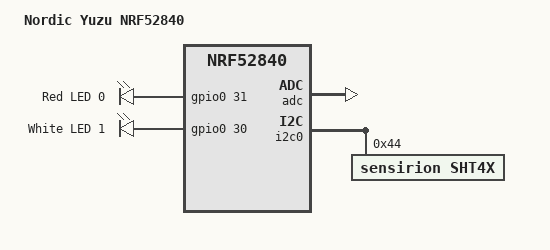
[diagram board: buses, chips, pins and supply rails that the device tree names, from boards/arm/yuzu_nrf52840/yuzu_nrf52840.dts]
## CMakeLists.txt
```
cmake_minimum_required(VERSION 3.20.0)
find_package(Zephyr REQUIRED HINTS $ENV{ZEPHYR_BASE})

project(yuzu)

# target_sources(app PRIVATE src/main.c)
FILE(GLOB app_sources src/*.c)
target_sources(app PRIVATE ${app_sources})
```

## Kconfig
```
source "Kconfig.zephyr"

config YUZU_SAMPLE_INTERVAL_MS
	int "Yuzu sampling interval (milliseconds)"
	default 10000
	range 1000 3600000
	help
	  Time in milliseconds between sensor readings.
	  Lower values = more frequent updates but higher power consumption.
	  Higher values = longer battery life but less responsive data.

config YUZU_ADV_INTERVAL_MS
	int "Yuzu broadcast interval (milliseconds)"
	default 4028
	range 100 10000
	help
	  Time in milliseconds between broadcasts, rounded to Bluetooth's
	  0.625 ms units. Lower values = readings reach receivers sooner
	  but higher power consumption. Pick it so each broadcast lands
	  about 0.4 of the way further into the receivers' 102.4 ms Wi-Fi
	  period: 4028 (4.028 s) or 8021 (8.021 s), not a round number of
	  seconds.
```

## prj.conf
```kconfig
# Battery
CONFIG_ADC=y

# SHT
CONFIG_I2C=y
CONFIG_SENSOR=y
CONFIG_SHT4X=y

# Basic BT options
CONFIG_BT=y
CONFIG_BT_PERIPHERAL=y
CONFIG_BT_DEVICE_NAME="YZ"

# MCUBOOT FOTA
CONFIG_NCS_SAMPLE_MCUMGR_BT_OTA_DFU=y

# Yuzu settings
# CONFIG_YUZU_SAMPLE_INTERVAL_MS=10000
# CONFIG_YUZU_ADV_INTERVAL_MS=4028

# Logging
CONFIG_LOG=y
# Allow room to print logs and allow for bt initialization
CONFIG_SEGGER_RTT_BUFFER_SIZE_UP=4096
```

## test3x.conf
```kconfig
CONFIG_BT_PERIPHERAL=y
CONFIG_BT_DEVICE_NAME="Yuzu"
CONFIG_SENSOR=y
CONFIG_ADC=y
CONFIG_SHT3XD_SINGLE_SHOT_MODE=y
CONFIG_BT=y
CONFIG_LOG=y
```

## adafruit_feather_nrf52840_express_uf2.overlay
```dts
// To get started, press Ctrl+Space (or Option+Esc) to bring up the completion menu and view the available nodes.

// You can also use the buttons in the sidebar to perform actions on nodes.
// Actions currently available include:

// * Enabling / disabling the node
// * Adding the bus to a bus
// * Removing the node
// * Connecting ADC channels

// For more help, browse the DeviceTree documentation at https: //docs.zephyrproject.org/latest/guides/dts/index.html
// You can also visit the nRF DeviceTree extension documentation at https: //nrfconnect.github.io/vscode-nrf-connect/devicetree/nrfdevicetree.html

&i2c0 {
    SHT4X: sht4x@44 {
        compatible = "sensirion,sht4x";
        reg = <0x44>;
        label = "SHT4X";
        repeatability = <0>;
    };
};
```

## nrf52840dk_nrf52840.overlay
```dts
/ {
    zephyr,user {
        io-channels = <&adc 4>;
    };
};

&i2c0 {
    SHT4X: sht4x@44 {
        compatible = "sensirion,sht4x";
        reg = <0x44>;
        label = "SHT4X";
        repeatability = <0>;
    };
};
```

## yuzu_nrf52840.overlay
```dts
/ {
    zephyr,user {
        io-channels = <&adc 4>;
    };
};
```

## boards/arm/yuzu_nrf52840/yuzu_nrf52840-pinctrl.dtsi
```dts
/*
 * Copyright (c) 2022 Nordic Semiconductor
 * SPDX-License-Identifier: Apache-2.0
 */

&pinctrl {
	i2c0_default: i2c0_default {
		group1 {
			psels = <NRF_PSEL(TWIM_SDA, 1, 9)>,
					<NRF_PSEL(TWIM_SCL, 0, 5)>;
		};
	};

	i2c0_sleep: i2c0_sleep {
		group1 {
			psels = <NRF_PSEL(TWIM_SDA, 1, 9)>,
					<NRF_PSEL(TWIM_SCL, 0, 5)>;
			low-power-enable;
		};
	};
};
```

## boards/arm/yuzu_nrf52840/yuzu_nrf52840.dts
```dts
/*
 * Copyright (c) 2017 Linaro Limited
 *
 * SPDX-License-Identifier: Apache-2.0
 */

/dts-v1/;
#include <nordic/nrf52840_qiaa.dtsi>
#include "yuzu_nrf52840-pinctrl.dtsi"
#include <zephyr/dt-bindings/input/input-event-codes.h>

/ {
	model = "Nordic Yuzu NRF52840";
	compatible = "nordic,yuzu-nrf52840";

	chosen {
		zephyr,sram = &sram0;
		zephyr,flash = &flash0;
		zephyr,code-partition = &slot0_partition;
	};

	leds {
		compatible = "gpio-leds";
		led0: led_0 {
			gpios = <&gpio0 31 GPIO_ACTIVE_HIGH>;
			label = "Red LED 0";
		};
		led1: led_1 {
			gpios = <&gpio0 30 GPIO_ACTIVE_HIGH>;
			label = "White LED 1";
		};
	};

	/* These aliases are provided for compatibility with samples */
	aliases {
		led0 = &led0;
		led1 = &led1;
		bootloader-led0 = &led0;
		mcuboot-led0 = &led0;
		watchdog0 = &wdt0;
	};
};

&adc {
	status = "okay";
};

&uicr {
	gpio-as-nreset;
};

&gpiote {
	status = "okay";
};

&gpio0 {
	status = "okay";
};

&gpio1 {
	status = "okay";
};

&i2c0 {
	compatible = "nordic,nrf-twi";
	status = "okay";
	pinctrl-0 = <&i2c0_default>;
	pinctrl-1 = <&i2c0_sleep>;
	pinctrl-names = "default", "sleep";

	SHT4X: sht4x@44 {
		compatible = "sensirion,sht4x";
		reg = <0x44>;
		label = "SHT4X";
		repeatability = <0>;
	};
};

&flash0 {

	partitions {
		compatible = "fixed-partitions";
		#address-cells = <1>;
		#size-cells = <1>;

		boot_partition: partition@0 {
			label = "mcuboot";
			reg = <0x00000000 0x0000C000>;
		};
		slot0_partition: partition@c000 {
			label = "image-0";
			reg = <0x0000C000 0x00076000>;
		};
		slot1_partition: partition@82000 {
			label = "image-1";
			reg = <0x00082000 0x00076000>;
		};

		/*
		 * The flash starting at 0x000f8000 and ending at
		 * 0x000fffff is reserved for use by the application.
		 */

		/*
		 * Storage partition will be used by FCB/LittleFS/NVS
		 * if enabled.
		 */
		storage_partition: partition@f8000 {
			label = "storage";
			reg = <0x000f8000 0x00008000>;
		};
	};
};
```

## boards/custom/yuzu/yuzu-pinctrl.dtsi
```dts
&pinctrl {
	i2c0_default: i2c0_default {
		group1 {
			psels = <NRF_PSEL(TWIM_SDA, 1, 9)>,
					<NRF_PSEL(TWIM_SCL, 0, 5)>;
		};
	};

	i2c0_sleep: i2c0_sleep {
		group1 {
			psels = <NRF_PSEL(TWIM_SDA, 1, 9)>,
					<NRF_PSEL(TWIM_SCL, 0, 5)>;
			low-power-enable;
		};
	};
};
```

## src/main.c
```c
#include <errno.h>
#include <math.h>

#include <zephyr/kernel.h>
#include <zephyr/logging/log.h>
#include <zephyr/drivers/sensor.h>
#include <zephyr/pm/device.h>
#include <zephyr/drivers/gpio.h>

#include "bluetooth.h"
#include "battery.h"

LOG_MODULE_REGISTER(yuzu, CONFIG_LOG_DEFAULT_LEVEL);

#define LED0_NODE DT_ALIAS(led0)
static const struct gpio_dt_spec led = GPIO_DT_SPEC_GET(LED0_NODE, gpios);

#define SHT_NODE DEVICE_DT_GET_ONE(sensirion_sht4x);
const struct device *const sht = SHT_NODE;

int main(void)
{
	int err;

	if (!gpio_is_ready_dt(&led)) {
		LOG_ERR("LED GPIO device not ready");
		return -ENODEV;
	}

	if (!device_is_ready(sht)) {
		LOG_ERR("SHT device %s is not ready", sht->name);
	} else {
		LOG_INF("SHT Device ready");
	}

	err = bluetooth_init();
	if (err != 0) {
		LOG_ERR("Failed to update advertising data (err %d)", err);
		return err;
	}

	err = gpio_pin_configure_dt(&led, GPIO_OUTPUT_INACTIVE);
	if (err < 0) {
		LOG_ERR("Failed to configure LED GPIO (err %d)", err);
		return err;
	}

	/* The first battery reading after boot comes out about 0.27 V low, then
	 * normal 20 s later (seen at three restarts). Discard it and wait a
	 * moment; advertising only starts with the first kept reading. */
	struct battery_measurement discard;
	(void)battery_measure(&discard);
	k_msleep(1000);

	bool flashed = false;

	while (true) {
		struct battery_measurement batt = {0};
		int16_t temp = 0;
		uint16_t hum = 0;
		struct sensor_value temp_raw, hum_raw;

		/* A failed read falls through to the sleep: retrying at once would
		 * spin and drain the cell. */
		int battery_err = battery_measure(&batt);

		int sensor_err = sensor_sample_fetch(sht);
		if (sensor_err == 0) {
			sensor_err = sensor_channel_get(sht, SENSOR_CHAN_AMBIENT_TEMP, &temp_raw);
		}
		if (sensor_err == 0) {
			sensor_err = sensor_channel_get(sht, SENSOR_CHAN_HUMIDITY, &hum_raw);
		}

		if (battery_err == 0 && sensor_err == 0) {
			/* Hundredths, rounded to 0.1. Signed: BTHome's temperature is,
			 * and a negative float converted to an unsigned type is undefined.
			 * The driver doesn't clamp humidity (-6 to 119 %). */
			temp = (int16_t)(lroundf(sensor_value_to_float(&temp_raw) * 10) * 10);
			hum = (uint16_t)(CLAMP(lroundf(sensor_value_to_float(&hum_raw) * 10), 0, 1000) * 10);

			LOG_INF("Batt %u.%02u%% %umV, Temp: %dC, Hum %u%%RH", 
					batt.level / 100, batt.level % 100, 
					batt.mv, temp, hum);
			bluetooth_update(batt.level, temp, hum);

			/* Flash the LED once, after the first reading, to show the
			 * sensor is working. Not at every reading: it costs battery. */
			if (!flashed) {
				gpio_pin_set_dt(&led, 1);
				k_msleep(100);
				gpio_pin_set_dt(&led, 0);
				flashed = true;
			}
		} else {
			LOG_WRN("Measurement failed - battery err:%d sensor err:%d", 
					battery_err, sensor_err);
		}

		k_msleep(CONFIG_YUZU_SAMPLE_INTERVAL_MS);
	}

	return 0;
}
```

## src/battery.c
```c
#include <math.h>
#include <errno.h>

#include <zephyr/kernel.h>
#include <zephyr/init.h>
#include <zephyr/drivers/gpio.h>
#include <zephyr/drivers/adc.h>
#include <zephyr/logging/log.h>

#include "battery.h"

LOG_MODULE_REGISTER(yuzu_battery, CONFIG_ADC_LOG_LEVEL);

static const struct adc_dt_spec adc_channel = ADC_DT_SPEC_GET(DT_PATH(zephyr_user));

static int16_t buf;
static struct adc_sequence sequence = {
	.buffer = &buf,
	.buffer_size = sizeof(buf),
};

/* A point in a battery discharge curve sequence.
 * A discharge curve is defined as a sequence of these points, where
 * the first point has #lvl_pptt set to 10000 and the last point has
 * #lvl_pptt set to zero.  Both #lvl_pptt and #lvl_mV should be
 * monotonic decreasing within the sequence. */
struct battery_level_point {
	/** Remaining life at #lvl_pptt. */
	uint16_t lvl_pptt;

	/** Battery voltage at #lvl_pptt remaining life. */
	uint16_t lvl_mV;
};

/* Simple discharging curve for a typical CR2032 coin cell battery. 
 * See https://github.com/stanvn/zigbee-plant-sensor/pull/4 */
static const struct battery_level_point discharge_curve_cr2032[] = {
	{10000, 3100},
	{9900, 3000},
	{9800, 2900},
	{9600, 2800},
	{2100, 2700},
	{1100, 2600},
	{700, 2500},
	{400, 2400},
	{200, 2300},
	{100, 2200},
	{0, 2000},
};

/** Calculate battery level from voltage.
 *
 * Internal helper function that performs linear interpolation between
 * discharge curve points to estimate remaining battery capacity.
 *
 * @param batt_mV	Measured battery voltage in millivolts.
 * @param curve		Discharge curve for the battery type.
 *
 * @return		Remaining capacity in parts per ten thousand.
 */
static unsigned int battery_mv_to_level(unsigned int batt_mV,
				    const struct battery_level_point *curve)
{
	const struct battery_level_point *pb = curve;

	if (batt_mV >= pb->lvl_mV) {
		/* Measured voltage above highest point, cap at maximum. */
		return pb->lvl_pptt;
	}

	/* Go down to the last point at or below the measured voltage. */
	while ((pb->lvl_pptt > 0)
	       && (batt_mV < pb->lvl_mV)) {
		++pb;
	}

	if (batt_mV < pb->lvl_mV) {
		/* Below lowest point, cap at minimum */
		return pb->lvl_pptt;
	}

	/* Linear interpolation between below and above points. */
	const struct battery_level_point *pa = pb - 1;

	return pb->lvl_pptt
		   + ((pa->lvl_pptt - pb->lvl_pptt)
			  * (batt_mV - pb->lvl_mV)
			  / (pa->lvl_mV - pb->lvl_mV));
}

static int battery_setup(void)
{
	int ret;

	if (!adc_is_ready_dt(&adc_channel)) {
		LOG_ERR("ADC controller device %s not ready", adc_channel.dev->name);
		return -ENODEV;
	}

	ret = adc_channel_setup_dt(&adc_channel);
	if (ret < 0) {
		LOG_ERR("Could not setup channel #%d (%d)", 0, ret);
		return ret;
	}

	ret = adc_sequence_init_dt(&adc_channel, &sequence);
	if (ret < 0) {
		LOG_ERR("Could not initialize sequence (%d)", ret);
		return ret;
	}

	LOG_INF("Battery setup complete");
	return 0;
}

SYS_INIT(battery_setup, APPLICATION, CONFIG_APPLICATION_INIT_PRIORITY);

int battery_measure(struct battery_measurement *measurement)
{
	int ret;
	int32_t val_mv;

	if (measurement == NULL) {
		LOG_ERR("Invalid measurement pointer");
		return -EINVAL;
	}

	ret = adc_read_dt(&adc_channel, &sequence);
	if (ret < 0) {
		LOG_ERR("Could not read ADC (%d)", ret);
		return ret;
	}

	val_mv = (int)buf;
	ret = adc_raw_to_millivolts_dt(&adc_channel, &val_mv);
	if (ret < 0) {
		LOG_WRN("Value in mV not available (%d)", ret);
		return ret;
	}

	measurement->mv = (uint16_t)val_mv;
	measurement->level = battery_mv_to_level(val_mv, discharge_curve_cr2032);

	LOG_DBG("Battery: %u mV, level: %u.%02u%%",
		measurement->mv,
		measurement->level / 100,
		measurement->level % 100);

	return 0;
}
```

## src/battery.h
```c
#ifndef APPLICATION_BATTERY_H_
#define APPLICATION_BATTERY_H_

struct battery_measurement {
	/** Battery voltage in millivolts. */
	uint16_t mv;

	/** Battery level in parts per ten thousand (pptt).
	 *  0 = 0%, 10000 = 100%, e.g., 5000 = 50%
	 */
	uint16_t level;
};

/** Measure battery voltage and remaining level.
 *
 * Performs a complete battery measurement, sampling the voltage and
 * calculating the remaining capacity level based on the discharge curve.
 *
 * @param measurement	Pointer to battery_measurement struct to fill with results.
 *
 * @return	0 on success, negative error code on failure.
 *		Possible error codes:
 *		  -ENODEV: ADC device not ready
 *		  -EINVAL: Invalid measurement
 *		  Other ADC driver error codes
 */
int battery_measure(struct battery_measurement *measurement);

#endif /* APPLICATION_BATTERY_H_ */
```

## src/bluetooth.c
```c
#include <errno.h>
#include <stdio.h>
#include <zephyr/logging/log.h>
#include <zephyr/bluetooth/bluetooth.h>
#include <zephyr/bluetooth/gatt.h>
#include <zephyr/bluetooth/uuid.h>
#include <zephyr/app_version.h>
#include "bluetooth.h"

LOG_MODULE_REGISTER(yuzu_bluetooth, CONFIG_LOG_DEFAULT_LEVEL);

#define DEVICE_NAME CONFIG_BT_DEVICE_NAME
#define DEVICE_NAME_LEN (sizeof(DEVICE_NAME) - 1)
#define BTHOME_SERVICE_UUID 0xfcd2 // BTHome service UUID
#define IDX_BATT 4                 // Index of battery level in service data
#define IDX_TEMPL 6                // Index of lo byte of temp in service data
#define IDX_TEMPH 7                // Index of hi byte of temp in service data
#define IDX_HUMDL 9                // Index of lo byte of humidity in service data
#define IDX_HUMDH 10               // Index of hi byte of humidity in service data

// Not a round number of seconds: at 8 s each broadcast lands about 17 ms later in a 102.4 ms
// Wi-Fi beacon period, so scanners that share their radio with Wi-Fi miss runs of them.
// Milliseconds to 0.625 ms units, rounded: 8021 ms gives 0x3222, as before.
#define ADV_INTERVAL_MIN ((CONFIG_YUZU_ADV_INTERVAL_MS * 8 + 2) / 5)
#define ADV_INTERVAL_MAX (ADV_INTERVAL_MIN + 1600) // 1 s more, as before

#define ADV_PARAM BT_LE_ADV_PARAM(BT_LE_ADV_OPT_CONN | BT_LE_ADV_OPT_USE_IDENTITY, \
                                  ADV_INTERVAL_MIN, ADV_INTERVAL_MAX, NULL)

static uint8_t battery_level;
static uint16_t humidity;
static bool advertising;
static int16_t temperature;

static uint8_t service_data[] = {
    BT_UUID_16_ENCODE(BTHOME_SERVICE_UUID),
    0x40,
    0x01, // Battery level
    0x32, // 50%
    0x02, // Temperature
    0x00, // Low byte
    0x00, // High byte
    0x03, // Humidity
    0xbf, // Low byte | 50.55%
    0x13, // High byte
    /* Firmware version, patch first. In place of the voltage object: the
     * advertising data is exactly 31 bytes with it, legacy advertising's limit. */
    0xF2,
    APP_PATCHLEVEL,
    APP_VERSION_MINOR,
    APP_VERSION_MAJOR,
};

// define buffer for device name that we can populate on init
static char name[10];

/* BLE Advertising data structure */
static const struct bt_data ad[] = {
    /* Flags: General Discoverable Mode, BR/EDR not supported */
    BT_DATA_BYTES(BT_DATA_FLAGS, (BT_LE_AD_GENERAL | BT_LE_AD_NO_BREDR)),
    /* BTHome service data with sensor readings */
    BT_DATA(BT_DATA_SVC_DATA16, service_data, ARRAY_SIZE(service_data)),
    /* Device name with MAC address suffix */
    BT_DATA(BT_DATA_NAME_COMPLETE, name, sizeof(name) - 1)
};

/* Each AD structure costs its data plus a length and a type byte. Legacy
 * advertising refuses more than 31 bytes, and the sensor would go silent. */
BUILD_ASSERT(3 + (2 + sizeof(service_data)) + (2 + sizeof(name) - 1) <= BT_GAP_ADV_MAX_ADV_DATA_LEN,
             "advertising data too long for legacy advertising");


/* Declarations */

static ssize_t battery_level_characteristic_cb(struct bt_conn *conn, const struct bt_gatt_attr *attr, void *buf, uint16_t len, uint16_t offset);

BT_GATT_SERVICE_DEFINE(battery,
                       BT_GATT_PRIMARY_SERVICE(BT_UUID_BAS),
                       BT_GATT_CHARACTERISTIC(
                           BT_UUID_BAS_BATTERY_LEVEL,
                           BT_GATT_CHRC_READ,
                           BT_GATT_PERM_READ,
                           battery_level_characteristic_cb, NULL, NULL), );

/* Callbacks */

static ssize_t battery_level_characteristic_cb(struct bt_conn *conn, const struct bt_gatt_attr *attr, void *buf, uint16_t len, uint16_t offset)
{
    return bt_gatt_attr_read(conn, attr, buf, len, offset, &battery_level, sizeof(battery_level));
}

/* BT_LE_ADV_OPT_CONN stops advertising when a connection is made, so it is
 * restarted here. Started from the recycled callback, once the connection
 * object is free again, and retried until it succeeds. */
static void adv_restart_work_handler(struct k_work *work)
{
    int err = bt_le_adv_start(ADV_PARAM, ad, ARRAY_SIZE(ad), NULL, 0);

    if (err == 0 || err == -EALREADY) {
        LOG_INF("Advertising restarted");
        return;
    }
    LOG_ERR("Failed to restart advertising (err %d), retrying", err);
    k_work_reschedule(k_work_delayable_from_work(work), K_SECONDS(1));
}

static K_WORK_DELAYABLE_DEFINE(adv_restart_work, adv_restart_work_handler);

static void disconnected(struct bt_conn *conn, uint8_t reason)
{
    LOG_INF("Disconnected (reason 0x%02x)", reason);
}

static void recycled(void)
{
    k_work_reschedule(&adv_restart_work, K_NO_WAIT);
}

BT_CONN_CB_DEFINE(conn_callbacks) = {
    .disconnected = disconnected,
    .recycled = recycled,
};

/* Custom functions */

// Add last 6 chars of mac address to name so devices can be identified
// Use ATC formac so it gets stripped correctly by Home Assistant BTHome integration
// https://github.com/Bluetooth-Devices/bthome-ble/blob/main/src/bthome_ble/parser.py#L263
int name_add_mac(char *str)
{
	bt_addr_le_t addr = {0};
	size_t count = 1;

    bt_id_get(&addr, &count);
    return sprintf(str, "%.2s %02X%02X%02X", DEVICE_NAME, addr.a.val[2], addr.a.val[1], addr.a.val[0]);
}

int bluetooth_init(void)
{
    int err;

    LOG_INF("Initializing bluetooth");

    err = bt_enable(NULL);
    if (err) {
        LOG_ERR("bt_enable returned %d", err);
        return err;
    }
    LOG_INF("Bluetooth initialised");

    // Add mac to name
    name_add_mac(name);
    LOG_INF("Name: %s", name);

    /* Advertising starts with the first reading (bluetooth_update), so the
     * placeholder values above are never broadcast. */
    return 0;
}

int bluetooth_update(uint16_t level, int16_t temp, uint16_t hum)
{
    battery_level = (level / 100);
    temperature = temp;
    humidity = hum;

    service_data[IDX_BATT] = battery_level;
    service_data[IDX_TEMPH] = (uint16_t)temperature >> 8;
    service_data[IDX_TEMPL] = (uint16_t)temperature & 0xff;
    service_data[IDX_HUMDH] = humidity >> 8;
    service_data[IDX_HUMDL] = humidity & 0xff;

    if (!advertising) {
        int err = bt_le_adv_start(ADV_PARAM, ad, ARRAY_SIZE(ad), NULL, 0);
        if (err) {
            LOG_ERR("Advertising failed to start (err %d)", err);
            return err;
        }
        advertising = true;
        LOG_INF("Advertising started");
        return 0;
    }

    int err = bt_le_adv_update_data(ad, ARRAY_SIZE(ad), NULL, 0);
    if (err == -EAGAIN) {
        /* A client is connected; advertising is paused. Data will be
         * applied when advertising resumes after disconnection. */
        LOG_DBG("Advertising paused (connected), data queued");
        return 0;
    } else if (err) {
        LOG_ERR("Failed to update advertising data (err %d)", err);
        return err;
    }
    LOG_DBG("Updated advertising data");
    return 0;
}
```

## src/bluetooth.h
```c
#include <stdint.h>

int bluetooth_init(void);
int bluetooth_update(uint16_t level, int16_t temp, uint16_t hum);
```
